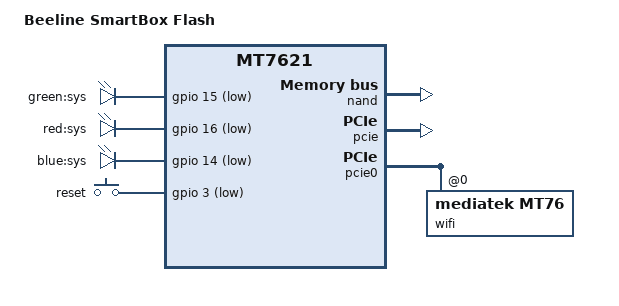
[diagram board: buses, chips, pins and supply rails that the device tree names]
// SPDX-License-Identifier: GPL-2.0-or-later OR MIT

#include "mt7621.dtsi"

#include <dt-bindings/gpio/gpio.h>
#include <dt-bindings/input/input.h>

/ {
	compatible = "beeline,smartbox-flash", "mediatek,mt7621-soc";
	model = "Beeline SmartBox Flash";

	aliases {
		label-mac-device = &gmac0;

		led-boot = &led_sys_red;
		led-failsafe = &led_sys_red;
		led-running = &led_sys_green;
		led-upgrade = &led_sys_blue;
	};

	leds {
		compatible = "gpio-leds";

		led_sys_green: sys_green {
			label = "green:sys";
			gpios = <&gpio 15 GPIO_ACTIVE_LOW>;
		};

		led_sys_red: sys_red {
			label = "red:sys";
			gpios = <&gpio 16 GPIO_ACTIVE_LOW>;
		};

		led_sys_blue: sys_blue {
			label = "blue:sys";
			gpios = <&gpio 14 GPIO_ACTIVE_LOW>;
		};
	};

	keys {
		compatible = "gpio-keys";

		reset {
			label = "reset";
			gpios = <&gpio 3 GPIO_ACTIVE_LOW>;
			linux,code = <KEY_RESTART>;
		};
	};
	
	ubi-concat {
		compatible = "mtd-concat";
		devices = <&ubipart0 &ubipart1>;

		partitions {
			compatible = "fixed-partitions";
			#address-cells = <1>;
			#size-cells = <1>;
			partition@0 {
				label = "ubi";
				reg = <0x0 0x5280000>;
			};
		};
	};
};

&nand {
	status = "okay";

	partitions {
		compatible = "fixed-partitions";
		#address-cells = <1>;
		#size-cells = <1>;

		partition@0_all {
			label = "all";
			reg = <0x0 0x7f80000>;
			read-only;
		};

		bootloader: partition@0 {
			label = "bootloader";
			reg = <0x0 0x100000>;
		};

		ubootenv: partition@100000 {
			label = "config";
			reg = <0x100000 0x100000>;
		};

		factory: partition@200000 {
			label = "factory";
			reg = <0x200000 0x100000>;
		};

		partition@300000 { 
		/* This part. overlaps next one (stock layout). */
			label = "stock_kernel0";
			reg = <0x300000 0x2000000>;
		};

		partition@720000 {
			label = "stock_rootfs0";
			reg = <0x720000 0x1be0000>;
		};

		partition@2300000 { 
		/* This part. overlaps next one like before. */
			label = "stock_kernel1";
			reg = <0x2300000 0x2000000>;
		};

		partition@2720000 {
			label = "stock_rootfs1";
			reg = <0x2720000 0x1be0000>;
		};

		partition@4300000 {
			label = "stock_glbcfg";
			reg = <0x4300000 0x200000>;
		};

		partition@4500000 {
			label = "stock_board_data";
			reg = <0x4500000 0x100000>;
		};

		partition@4600000 {
			label = "stock_glbcfg2";
			reg = <0x4600000 0x200000>;
		};

		partition@4800000 {
			label = "stock_board_data2";
			reg = <0x4800000 0x100000>;
		};

		partition@4900000 {
			label = "stock_data";
			reg = <0x4900000 0x3680000>;
		};

		kernel: partition@2300000_owrt_kernel {
			label = "kernel";
			reg = <0x2300000 0x420000>;
		};

		ubipart0: partition@2720000_ubi0 {
			label = "ubipart0";
			reg = <0x2720000 0x1be0000>;
		};		
		
		ubipart1: partition@4600000_ubi1 {
			label = "ubipart1";
			reg = <0x4600000 0x3980000>;
		};		
	};
};


&pcie {
	status = "okay";
};

&pcie0 {
	wifi@0,0 {
		compatible = "mediatek,mt76";
		reg = <0x0000 0 0 0 0>;
		mediatek,mtd-eeprom = <&factory 0x0>;
		mtd-mac-address = <&factory 0x4>;
	};
};


&gmac0 {
 	mtd-mac-address = <&factory 0xe000>;
 };

&switch0 {
	ports {
		port@2 {
			status = "okay";
			label = "lan2";
		};

		port@3 {
			status = "okay";
			label = "lan1";
		};

		port@4 {
			status = "okay";
			label = "wan";
			mtd-mac-address = <&factory 0xe006>;
		};
	};
};

&state_default {
	gpio {
		groups = "jtag", "uart2", "uartlite3", "wdt";
		function = "gpio";
	};
};

